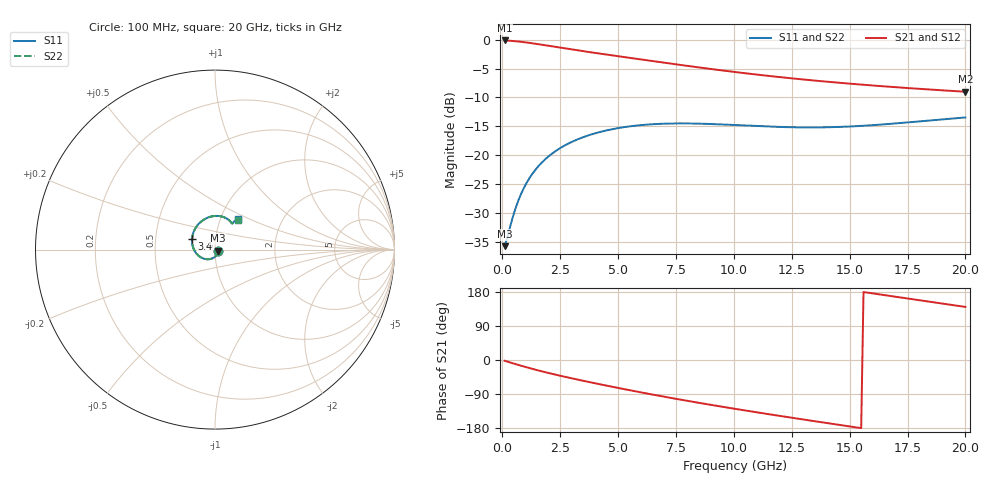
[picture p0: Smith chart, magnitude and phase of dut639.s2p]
! Touchstone file exported from HFSS 2024.1.0
!  File:  C:/UserFiles/LocalFiles/RDL_TSV_Batchsim/temp_RDL_TSV_639_1779806591.aedt
!  Generated:  10:55:27 PM May 26, 2026
!  Design:  RDL_TSV
!  Project:  temp_RDL_TSV_639_1779806591
!  Setup:  Setup1
!  Solution:  Sweep
! Variables:
!  dtsv = 11.47um
!  hbump = 3um
!  htsv = 81.24um
!  ldown = 390.29um
!  lrdl = 521.1um
!  p = 40
!  p1 = 41.44um
!  rhole = 10um
!  subl = 3255.27um
!  t = 450um
!  tdown = 3.7um
!  trdl = 2.32um
!  viad = 10um
!  wdown = 28.74um
!  wrdl = 29.65um
!  xbump = 18um
# GHz S MA R 50.000000
! Terminal data exported
! Port[1] = TM1_1_T1
! Port[2] = TM1_4_T1
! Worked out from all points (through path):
!   200 points, 100 MHz to 20 GHz, reference 50 ohm
!   highest |S21| = -0.14 dB at 100 MHz (marker M1); lowest = -9.0 dB at 20 GHz (marker M2)
!   group delay of S21, straight-line fit = 29.1 ps
!   lowest |S11| = -35.7 dB at 100 MHz (marker M3), VSWR 1.03, Z = 51.6 - j0.545 ohm
!   |S11| at or under -10 dB: start of sweep to end of sweep
!   |S22| runs from -35.7 to -13.5 dB; largest |S21 - S12| = 1.3e-14
!   S11 on the Smith chart (normalised r, x): 100 MHz: 1.03, -0.01; 3.4 GHz: 0.77, +0.09; 20 GHz: 1.21, +0.43
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0.1  0.01634 -18.9  0.9837 -2.0  0.9837 -2.0  0.01634 -18.9
! Gamma 0 0 0 0
! Port Impedance 50 0 50 0
0.5  0.03132 -74.7  0.9714 -9.5  0.9714 -9.5  0.03132 -74.7
0.7  0.04089 -92.1  0.9628 -13.1  0.9628 -13.1  0.04089 -92.1
1  0.0553 -112.4  0.9473 -18.4  0.9473 -18.4  0.05529 -112.4
1.3  0.06911 -128.9  0.9295 -23.4  0.9295 -23.4  0.06909 -128.9
1.7  0.08615 -147.5  0.9038 -29.8  0.9038 -29.8  0.08612 -147.6
2.2  0.1051 -167.4  0.8712 -37.3  0.8712 -37.3  0.105 -167.5
2.8  0.1246 172.4  0.834 -45.7  0.834 -45.7  0.1245 172.3
3.4  0.1409 155.2  0.7996 -53.7  0.7996 -53.7  0.1409 155.1
3.5  0.1434 152.5  0.7941 -55.0  0.7941 -55.0  0.1434 152.5
4.2  0.1585 135.9  0.7576 -63.9  0.7576 -63.9  0.1585 135.8
5  0.1716 119.8  0.7188 -73.7  0.7188 -73.7  0.1716 119.8
5.9  0.1815 104.9  0.6778 -84.4  0.6778 -84.4  0.1814 104.8
6.8  0.1868 92.6  0.6394 -94.7  0.6394 -94.7  0.1867 92.5
8.4  0.1878 76.3  0.578 -112.1  0.578 -112.1  0.1877 76.1
10.1  0.1822 65.2  0.5231 -129.4  0.5231 -129.4  0.1822 65.0
11.7  0.1764 59.5  0.4807 -144.9  0.4807 -144.9  0.1763 59.3
13.4  0.1739 57.0  0.4441 -160.7  0.4441 -160.7  0.1738 56.8
15  0.1772 56.4  0.4161 -175.3  0.4161 -175.3  0.1769 56.2
16.7  0.1864 55.9  0.3914 169.4  0.3914 169.4  0.186 55.7
18.4  0.1993 54.7  0.3708 154.3  0.3708 154.3  0.1987 54.4
20  0.2123 52.5  0.3542 140.1  0.3542 140.1  0.2115 52.3
